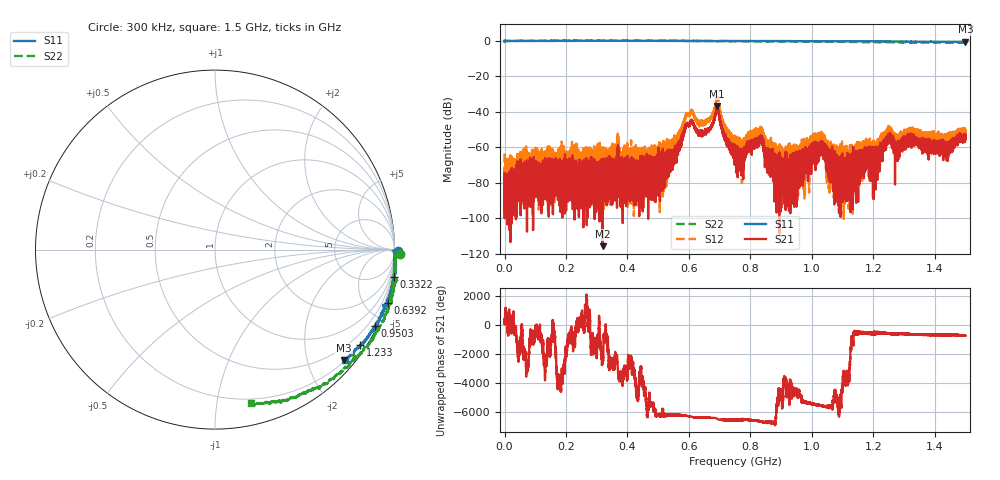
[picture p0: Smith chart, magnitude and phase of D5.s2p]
!Agilent Technologies,N5230C,SG49000117,A.08.50.07
!Agilent N5230C: A.08.50.07
!Date: Thursday, December 07, 2023 06:08:48
!Correction: S11(Full 2 Port(1,2))
!S21(Full 2 Port(1,2))
!S12(Full 2 Port(1,2))
!S22(Full 2 Port(1,2))
!S2P File: Measurements: S11, S21, S12, S22:
# Hz S  RI  R 50
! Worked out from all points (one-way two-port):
!   20001 points, 300 kHz to 1.5 GHz, reference 50 ohm
!   highest |S21| = -36.72 dB at 692.1 MHz (marker M1); lowest = -115.8 dB at 319.3 MHz (marker M2)
!   lowest |S11| = -0.5 dB at 1.5 GHz (marker M3), VSWR 35.93, Z = 11.5 - j135 ohm
!   |S11| at or under -10 dB: nowhere
!   |S22| runs from -1.1 to 0.3 dB; largest |S21 - S12| = 0.014
!   S11 on the Smith chart (normalised r, x): 300 kHz: -92, -35; 332.2 MHz: -1, -13; 639.2 MHz: -0.15, -6.64; 950.3 MHz: 0.12, -4.39; 1.233 GHz: 0.20, -3.33; 1.5 GHz: 0.23, -2.69
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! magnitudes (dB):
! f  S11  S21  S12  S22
! 300 kHz  0.2  -75.8  -63.5  0.3
! 8.398 MHz  0.0  -83.1  -76.6  0.0
! 250.3 MHz  0.1  -74.8  -83.8  0.2
! 319.3 MHz  0.1  -115.8  -71.3  0.2
! 332.2 MHz  0.1  -71.2  -71.0  0.2
! 500.2 MHz  0.1  -66.5  -63.1  0.1
! 549.2 MHz  0.1  -61.7  -64.6  0.1
! 594 MHz  0.0  -46.7  -41.4  0.0
! 639.2 MHz  0.1  -51.7  -45.5  0.0
! 692.1 MHz  -0.1  -36.7  -31.5  -0.3
! 750.1 MHz  0.0  -61.8  -54.5  -0.1
! 832.6 MHz  -0.1  -54.6  -49.1  -0.2
! 888 MHz  -0.1  -80.7  -68.4  -0.3
! 950.3 MHz  -0.1  -70.9  -62.5  -0.3
! 1 GHz  -0.1  -61.1  -64.5  -0.4
! 1.031 GHz  -0.1  -59.6  -51.3  -0.4
! 1.073 GHz  -0.2  -70.3  -65.5  -0.5
! 1.12 GHz  -0.2  -70.2  -60.4  -0.6
! 1.233 GHz  -0.3  -60.3  -54.3  -0.7
! 1.25 GHz  -0.3  -55.9  -50.6  -0.7
! 1.277 GHz  -0.3  -58.9  -59.1  -0.8
! 1.5 GHz  -0.5  -55.1  -50.1  -1.1
